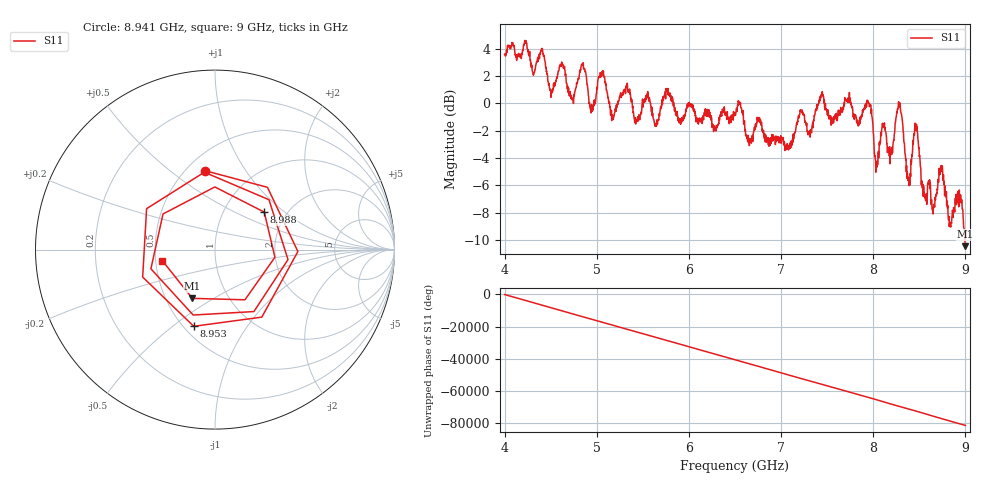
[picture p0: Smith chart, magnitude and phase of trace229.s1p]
! Created with skrf 1.8.0 (http://scikit-rf.org).
# Hz S RI R 50.0
!freq ReS11 ImS11
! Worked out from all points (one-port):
!   1601 points, 4 GHz to 9 GHz, reference 50 ohm
!   lowest |S11| = -10.5 dB at 8.997 GHz (marker M1), VSWR 1.86, Z = 33.9 - j20.3 ohm
!   |S11| at or under -10 dB: 8.995061 GHz to end of sweep
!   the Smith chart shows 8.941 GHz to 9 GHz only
!   S11 on the Smith chart (normalised r, x): 8.941 GHz: 0.61, +0.67; 8.953 GHz: 0.56, -0.60; 8.988 GHz: 1.55, +0.73; 9 GHz: 0.54, -0.07
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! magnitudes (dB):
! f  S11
! 4 GHz  3.6
! 4.406 GHz  4.0
! 4.509 GHz  0.7
! 4.625 GHz  2.9
! 4.725 GHz  0.5
! 4.847 GHz  2.9
! 4.941 GHz  -0.6
! 5.047 GHz  2.1
! 5.166 GHz  -0.9
! 5.25 GHz  0.5
! 5.875 GHz  -0.8
! 6.5 GHz  -0.7
! 7.125 GHz  -2.6
! 7.438 GHz  0.7
! 7.75 GHz  0.4
! 7.956 GHz  0.0
! 8.038 GHz  -4.7
! 8.288 GHz  -0.1
! 8.375 GHz  -5.7
! 8.462 GHz  -1.8
! 8.559 GHz  -6.9
! 8.738 GHz  -4.6
! 8.831 GHz  -8.7
! 8.941 GHz  -7.1
! 8.953 GHz  -7.1
! 8.988 GHz  -9.2
! 8.997 GHz  -10.5
! 9 GHz  -10.5
